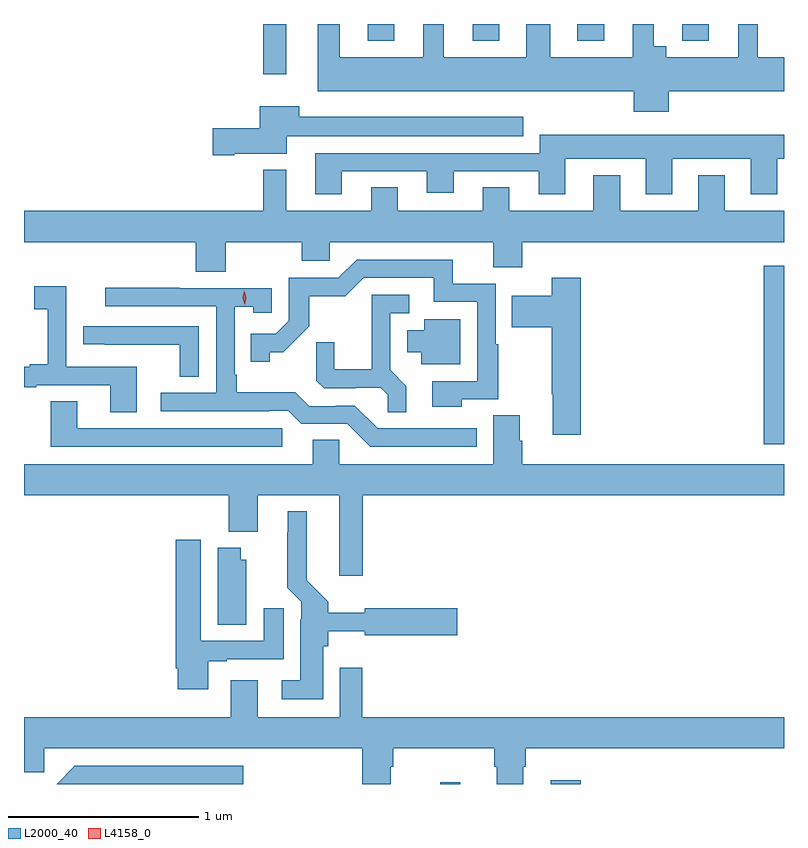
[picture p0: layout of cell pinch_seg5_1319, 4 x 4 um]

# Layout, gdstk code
import gdstk
lib = gdstk.Library(unit=1e-6, precision=1e-09)
def R(c, l, rs):  # rectangles x0, y0, x1, y1
    for r in rs: c.add(gdstk.rectangle(r[:2], r[2:], *l))
def A(c, l, x, y, w, h, nx, ny, dx, dy):  # array of equal rectangles
    R(c, l, [(x+i*dx, y+j*dy, x+i*dx+w, y+j*dy+h) for i in range(nx) for j in range(ny)])
def P(c, l, *ps):  # polygons
    for p in ps: c.add(gdstk.Polygon(p, *l))
L2000_40 = (2000, 40)
L4158_0 = (4158, 0)

pinch_seg5_1319 = lib.new_cell('pinch_seg5_1319')
A(pinch_seg5_1319, L2000_40, 302.237, 895.115, 0.14, 0.089, 4, 1, 0.552, 0)
R(pinch_seg5_1319, L2000_40, [(302.62,891.204,302.723,891.214), (303.2,891.204,303.359,891.223), (304.322,892.992,304.428,893.932), (301.686,894.939,301.807,895.204)])
P(pinch_seg5_1319, L2000_40, [(303.821,894.851),(304.428,894.851),(304.428,895.03),(304.291,895.03),(304.291,895.204),(304.187,895.204),(304.187,895.03),(303.808,895.03),(303.808,895.087),(303.742,895.087),(303.742,895.204),(303.632,895.204),(303.632,895.03),(303.199,895.03),(303.199,895.204),(303.071,895.204),(303.071,895.03),(302.638,895.03),(302.638,895.204),(302.528,895.204),(302.528,895.03),(302.089,895.03),(302.089,895.204),(301.973,895.204),(301.973,894.851),(303.638,894.851),(303.638,894.743),(303.821,894.743)],
  [(301.534,894.521),(301.81,894.521),(301.81,894.614),(303.055,894.614),(303.055,894.715),(301.876,894.715),(301.876,894.772),(301.67,894.772),(301.67,894.656),(301.422,894.656),(301.422,894.514),(301.534,894.514)],
  [(302.101,894.429),(302.549,894.429),(302.549,894.317),(302.689,894.317),(302.689,894.429),(303.137,894.429),(303.137,894.309),(303.277,894.309),(303.277,894.494),(303.701,894.494),(303.701,894.309),(303.841,894.309),(303.841,894.494),(304.253,894.494),(304.253,894.309),(304.393,894.309),(304.393,894.494),(304.428,894.494),(304.428,894.622),(303.143,894.622),(303.143,894.525),(301.961,894.525),(301.961,894.309),(302.101,894.309)],
  [(301.491,894.056),(301.891,894.056),(301.891,893.958),(302.037,893.958),(302.037,894.056),(302.897,894.056),(302.897,893.923),(303.05,893.923),(303.05,894.056),(304.428,894.056),(304.428,894.22),(304.117,894.22),(304.117,894.409),(303.977,894.409),(303.977,894.22),(303.565,894.22),(303.565,894.409),(303.425,894.409),(303.425,894.22),(302.983,894.22),(302.983,894.344),(302.843,894.344),(302.843,894.22),(302.395,894.22),(302.395,894.344),(302.255,894.344),(302.255,894.22),(301.807,894.22),(301.807,894.436),(301.686,894.436),(301.686,894.22),(300.428,894.22),(300.428,894.056),(301.331,894.056),(301.331,893.899),(301.491,893.899)],
  [(302.733,893.229),(302.923,893.229),(302.923,893.519),(302.91,893.519),(302.91,893.838),(302.684,893.838),(302.684,893.964),(302.178,893.964),(302.082,893.868),(301.821,893.868),(301.821,893.643),(301.752,893.574),(301.621,893.574),(301.621,893.427),(301.722,893.427),(301.722,893.477),(301.792,893.477),(301.93,893.614),(301.93,893.77),(302.119,893.77),(302.217,893.868),(302.585,893.868),(302.585,893.742),(302.814,893.742),(302.814,893.325),(302.577,893.325),(302.577,893.189),(302.733,893.189)],
  [(303.359,893.869),(303.205,893.869),(303.205,893.773),(302.995,893.773),(302.995,893.608),(303.205,893.608),(303.205,893.255),(303.212,893.255),(303.212,893.043),(303.359,893.043)],
  [(301.021,893.4),(300.651,893.4),(300.651,893.824),(300.483,893.824),(300.483,893.704),(300.554,893.704),(300.554,893.413),(300.458,893.413),(300.458,893.4),(300.428,893.4),(300.428,893.292),(300.493,893.292),(300.493,893.304),(300.881,893.304),(300.881,893.161),(301.021,893.161)],
  [(302.812,893.076),(302.289,893.076),(302.169,893.196),(302.068,893.196),(302.068,893.193),(301.929,893.193),(301.856,893.266),(301.549,893.266),(301.549,893.359),(301.536,893.359),(301.536,893.717),(301.635,893.717),(301.635,893.685),(301.731,893.685),(301.731,893.814),(301.247,893.814),(301.247,893.817),(300.855,893.817),(300.855,893.718),(301.44,893.718),(301.44,893.262),(301.149,893.262),(301.149,893.166),(301.718,893.166),(301.718,893.169),(301.818,893.169),(301.887,893.1),(302.13,893.1),(302.25,892.98),(302.812,892.98)],
  [(302.441,893.297),(302.355,893.383),(302.355,893.682),(302.455,893.682),(302.455,893.778),(302.258,893.778),(302.258,893.386),(302.06,893.386),(302.06,893.529),(301.966,893.529),(301.966,893.327),(302.007,893.286),(302.172,893.286),(302.172,893.289),(302.306,893.289),(302.343,893.252),(302.343,893.161),(302.441,893.161)],
  [(302.725,893.65),(302.534,893.65),(302.534,893.593),(302.444,893.593),(302.444,893.477),(302.519,893.477),(302.519,893.414),(302.725,893.414)],
  [(301.347,893.613),(300.741,893.613),(300.741,893.518),(300.853,893.518),(300.853,893.517),(301.249,893.517),(301.249,893.347),(301.347,893.347)],
  [(301.786,893.076),(300.709,893.076),(300.709,893.219),(300.569,893.219),(300.569,892.98),(301.786,892.98)],
  [(302.21,892.724),(304.428,892.724),(304.428,892.888),(303.05,892.888),(303.05,893.01),(303.037,893.01),(303.037,893.144),(302.897,893.144),(302.897,892.888),(302.088,892.888),(302.088,893.015),(301.949,893.015),(301.949,892.888),(300.428,892.888),(300.428,892.724),(301.505,892.724),(301.505,892.532),(301.657,892.532),(301.657,892.724),(302.087,892.724),(302.087,892.299),(302.21,892.299)],
  [(302.002,891.93),(302.028,891.93),(302.028,892.007),(302.222,892.007),(302.222,891.988),(302.707,891.988),(302.707,892.13),(302.222,892.13),(302.222,892.106),(302.028,892.106),(302.028,892.163),(301.915,892.276),(301.915,892.639),(301.817,892.639),(301.817,892.529),(301.813,892.529),(301.813,892.238),(301.887,892.164),(301.887,892.07),(301.883,892.07),(301.883,891.751),(301.785,891.751),(301.785,891.65),(302.002,891.65)],
  [(301.399,891.849),(301.495,891.849),(301.495,891.861),(301.795,891.861),(301.795,892.129),(301.691,892.129),(301.691,891.957),(301.357,891.957),(301.357,892.489),(301.226,892.489),(301.226,891.814),(301.238,891.814),(301.238,891.702),(301.399,891.702)],
  [(301.597,892.383),(301.57,892.383),(301.57,892.447),(301.448,892.447),(301.448,892.042),(301.597,892.042)],
  [(302.359,891.296),(302.372,891.296),(302.372,891.392),(302.903,891.392),(302.903,891.296),(302.915,891.296),(302.915,891.204),(303.055,891.204),(303.055,891.296),(303.068,891.296),(303.068,891.392),(304.428,891.392),(304.428,891.556),(302.207,891.556),(302.207,891.817),(302.091,891.817),(302.091,891.556),(301.657,891.556),(301.657,891.751),(301.517,891.751),(301.517,891.556),(300.428,891.556),(300.428,891.265),(300.534,891.265),(300.534,891.392),(302.207,891.392),(302.207,891.204),(302.359,891.204)],
  [(301.583,891.3),(300.696,891.3),(300.6,891.204),(301.583,891.204)])
P(pinch_seg5_1319, L4158_0, [(301.589,893.727),(301.589,893.727),(301.578,893.762),(301.586,893.798),(301.587,893.799),(301.587,893.798),(301.598,893.763),(301.589,893.727)])

lib.write_gds('pinch_seg5_1319.gds')
